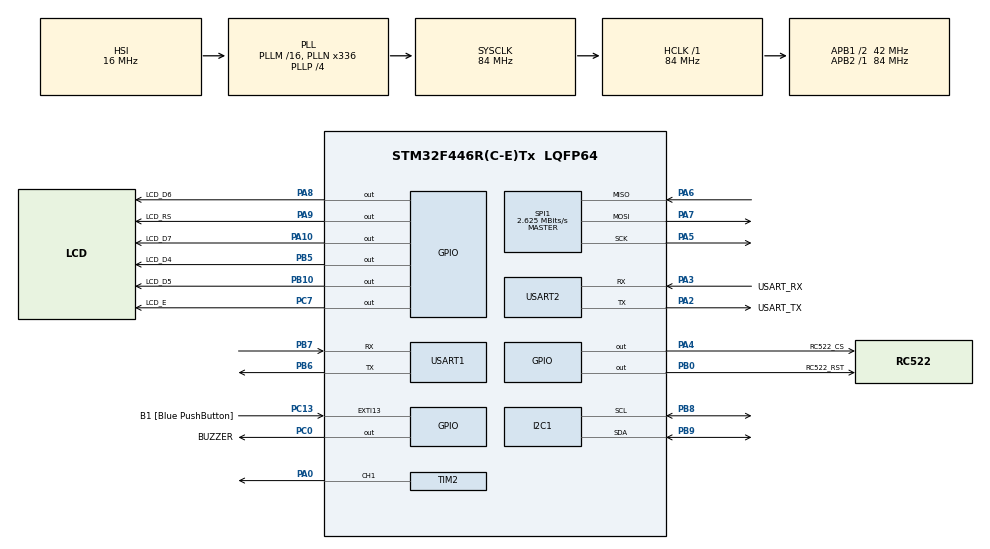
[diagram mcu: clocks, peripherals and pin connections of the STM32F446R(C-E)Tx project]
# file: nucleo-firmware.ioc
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Mcu.Family=STM32F4
Mcu.Name=STM32F446R(C-E)Tx
Mcu.Package=LQFP64
NVIC.PriorityGroup=NVIC_PRIORITYGROUP_0
NVIC.USART1_IRQn=true\:0\:0\:false\:false\:true\:true\:true\:true
PA0-WKUP.Signal=S_TIM2_CH1_ETR
PA10.GPIO_Label=LCD_D7
PA10.Signal=GPIO_Output
PA13.GPIO_Label=TMS
PA13.Mode=Serial_Wire
PA13.Signal=SYS_JTMS-SWDIO
PA14.GPIO_Label=TCK
PA14.Mode=Serial_Wire
PA14.Signal=SYS_JTCK-SWCLK
PA2.GPIO_Label=USART_TX
PA2.Mode=Asynchronous
PA2.Signal=USART2_TX
PA3.GPIO_Label=USART_RX
PA3.Mode=Asynchronous
PA3.Signal=USART2_RX
PA4.GPIO_Label=RC522_CS
PA4.PinState=GPIO_PIN_SET
PA4.Signal=GPIO_Output
PA5.Mode=Full_Duplex_Master
PA5.Signal=SPI1_SCK
PA6.Mode=Full_Duplex_Master
PA6.Signal=SPI1_MISO
PA7.Mode=Full_Duplex_Master
PA7.Signal=SPI1_MOSI
PA8.GPIO_Label=LCD_D6
PA8.Signal=GPIO_Output
PA9.GPIO_Label=LCD_RS
PA9.Signal=GPIO_Output
PB0.GPIO_Label=RC522_RST
PB0.PinState=GPIO_PIN_SET
PB0.Signal=GPIO_Output
PB10.GPIO_Label=LCD_D5
PB10.Signal=GPIO_Output
PB3.GPIO_Label=SWO
PB3.Signal=SYS_JTDO-SWO
PB5.GPIO_Label=LCD_D4
PB5.Signal=GPIO_Output
PB6.Mode=Asynchronous
PB6.Signal=USART1_TX
PB7.Mode=Asynchronous
PB7.Signal=USART1_RX
PB8.Mode=I2C
PB8.Signal=I2C1_SCL
PB9.Mode=I2C
PB9.Signal=I2C1_SDA
PC0.GPIO_Label=BUZZER
PC0.Signal=GPIO_Output
PC13.GPIO_Label=B1 [Blue PushButton]
PC13.GPIO_ModeDefaultEXTI=GPIO_MODE_IT_FALLING
PC13.Signal=GPXTI13
PC14-OSC32_IN.Signal=RCC_OSC32_IN
PC15-OSC32_OUT.Signal=RCC_OSC32_OUT
PC7.GPIO_Label=LCD_E
PC7.Signal=GPIO_Output
PH0-OSC_IN.Signal=RCC_OSC_IN
PH1-OSC_OUT.Signal=RCC_OSC_OUT
ProjectManager.HeapSize=0x200
ProjectManager.StackSize=0x400
ProjectManager.TargetToolchain=STM32CubeIDE
RCC.AHBFreq_Value=84000000
RCC.APB1CLKDivider=RCC_HCLK_DIV2
RCC.APB1Freq_Value=42000000
RCC.APB1TimFreq_Value=84000000
RCC.APB2Freq_Value=84000000
RCC.APB2TimFreq_Value=84000000
RCC.CortexFreq_Value=84000000
RCC.FLatency-AdvancedSettings=FLASH_LATENCY_2
RCC.HCLKFreq_Value=84000000
RCC.HSE_VALUE=8000000
RCC.HSI_VALUE=16000000
RCC.LSE_VALUE=32768
RCC.PLLN=336
RCC.PLLP=RCC_PLLP_DIV4
RCC.SYSCLKFreq_VALUE=84000000
RCC.SYSCLKSource=RCC_SYSCLKSOURCE_PLLCLK
RCC.USBFreq_Value=168000000
RCC.VCOOutputFreq_Value=336000000
SH.S_TIM2_CH1_ETR.0=TIM2_CH1,PWM Generation1 CH1
SPI1.BaudRatePrescaler=SPI_BAUDRATEPRESCALER_32
SPI1.CalculateBaudRate=2.625 MBits/s
SPI1.Direction=SPI_DIRECTION_2LINES
SPI1.Mode=SPI_MODE_MASTER
SPI1.VirtualType=VM_MASTER
TIM2.AutoReloadPreload=TIM_AUTORELOAD_PRELOAD_ENABLE
TIM2.Channel-PWM\ Generation1\ CH1=TIM_CHANNEL_1
TIM2.Period=19999
TIM2.Prescaler=83
TIM2.Pulse-PWM\ Generation1\ CH1=1500
USART1.VirtualMode=VM_ASYNC
USART2.VirtualMode=VM_ASYNC
VP_TIM2_VS_ClockSourceINT.Mode=Internal
board=NUCLEO-F446RE

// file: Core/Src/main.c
/* USER CODE BEGIN Header */
/**
  ******************************************************************************
  * @file           : main.c
  * @brief          : Main program body
  ******************************************************************************
  * @attention
  *
  * Copyright (c) 2026 STMicroelectronics.
  * All rights reserved.
  *
  * This software is licensed under terms that can be found in the LICENSE file
  * in the root directory of this software component.
  * If no LICENSE file comes with this software, it is provided AS-IS.
  *
  ******************************************************************************
  */
/* USER CODE END Header */
#include "main.h"

/* USER CODE BEGIN Includes */
#include <stdio.h>
#include <string.h>
/* USER CODE END Includes */

/* USER CODE BEGIN PD */
#define SERVO_MIN_US       650    // safe range: measured stops (540 / 2480) plus ~100 us margin
#define SERVO_MAX_US       2380
#define SERVO_LOCKED_US    700    // placeholder, choose after trying the positions
#define SERVO_UNLOCKED_US  2300   // placeholder, choose after trying the positions
#define UNLOCK_HOLD_MS     5000   // how long the lock stays open after a grant (my starting value)
#define RFID_POLL_MS       100    // how often the card reader is polled (same rate as before)
#define RX1_BUF_SIZE 128                    // must be a power of two

#define FRAME_SOF           0xA5
#define FRAME_TYPE_EVENT    0x01
#define FRAME_TYPE_ACK      0x02
#define FRAME_MAX_PAYLOAD   32

/* USER CODE END PD */

I2C_HandleTypeDef hi2c1;

SPI_HandleTypeDef hspi1;

TIM_HandleTypeDef htim2;

UART_HandleTypeDef huart1;
UART_HandleTypeDef huart2;

/* USER CODE BEGIN PV */

static volatile uint8_t  rx1_buf[RX1_BUF_SIZE];
static volatile uint16_t rx1_head = 0;      // written only by the interrupt
static volatile uint16_t rx1_tail = 0;      // written only by the main loop
static volatile uint32_t rx1_dropped = 0;   // bytes thrown away because the buffer was full
static volatile uint32_t rx1_errors = 0;    // UART error events (overrun, noise, framing)
static uint8_t  rx1_byte;                   // one-byte landing spot for HAL
static uint32_t rx1_bytes = 0;              // bytes the main loop has taken out (test counter)
static volatile uint32_t rx1_err_pe = 0, rx1_err_ne = 0, rx1_err_fe = 0, rx1_err_ore = 0;
static uint32_t rx1_unexpected = 0;
static uint8_t  rxdump[64];
static size_t   rxdump_n = 0;
static uint32_t rxdump_last_ms = 0;

/* USER CODE END PV */

void SystemClock_Config(void);
static void MX_GPIO_Init(void);
static void MX_SPI1_Init(void);
static void MX_USART2_UART_Init(void);
static void MX_TIM2_Init(void);
static void MX_I2C1_Init(void);
static void MX_USART1_UART_Init(void);

/* USER CODE BEGIN 0 */

// CRC-16/CCITT-FALSE: polynomial 0x1021, start value 0xFFFF, no bit reflection
static uint16_t crc16_ccitt(const uint8_t *data, size_t len)
{
    uint16_t crc = 0xFFFF;
    for (size_t i = 0; i < len; i++) {
        crc ^= (uint16_t)data[i] << 8;                       // bring the next byte in at the top
        for (uint8_t b = 0; b < 8; b++)                      // then shift it through, one bit at a time
            crc = (crc & 0x8000) ? (uint16_t)((crc << 1) ^ 0x1021) : (uint16_t)(crc << 1);
    }
    return crc;
}

// Builds [SOF][LEN][TYPE][SEQ][PAYLOAD][CRC hi][CRC lo] into out. Returns the frame size in bytes.
// out must hold at least len + 6 bytes. The CRC covers LEN, TYPE, SEQ and PAYLOAD.
static size_t frame_build(uint8_t *out, uint8_t type, uint8_t seq, const uint8_t *payload, uint8_t len)
{
    out[0] = FRAME_SOF;
    out[1] = len;
    out[2] = type;
    out[3] = seq;
    memcpy(&out[4], payload, len);
    uint16_t crc = crc16_ccitt(&out[1], (size_t)len + 3);
    out[4 + len] = (uint8_t)(crc >> 8);
    out[5 + len] = (uint8_t)(crc & 0xFF);
    return (size_t)len + 6;
}

// Test helper: sends the sample EVENT frame, deliberately damaged according to 'fault'.
static void send_sample_frame(uint8_t fault)
{
    const uint8_t sample[17] = { 0x39,0x30,0x00,0x00, 0x01,0x17,0x37,0x02,
                                 1, 1, 0, 0x1A,0x0B,0x16,0x0C,0x22,0x38 };
    uint8_t fr[FRAME_MAX_PAYLOAD + 6];
    size_t n = frame_build(fr, FRAME_TYPE_EVENT, 7, sample, sizeof sample);
    switch (fault) {
    case 1: fr[8] ^= 0x01; break;          // flip one payload bit: the CRC no longer matches
    case 2: fr[1] = 0x40;  break;          // length 64 is above the maximum of 32
    case 3: n = 10;        break;          // truncated: only the first 10 bytes are sent
    case 4: {                              // junk start of a fake frame, then a valid frame
        static const uint8_t pre[2] = { 0xA5, 0x05 };
        HAL_UART_Transmit(&huart1, pre, sizeof pre, 100);
        break; }
    default: break;
    }
    HAL_UART_Transmit(&huart1, fr, n, 100);
}

static void uart_print(const char *s)
{
    HAL_UART_Transmit(&huart2, (uint8_t *)s, strlen(s), 100);
}

typedef struct {
    uint8_t  buf[1 + 3 + FRAME_MAX_PAYLOAD + 2];   // raw bytes since the last start byte
    size_t   n;                                    // 0 = hunting for a start byte
    uint32_t last_byte_ms;
    uint32_t ok, bad_crc, bad_len, timeout, skipped;
} frame_parser_t;

static frame_parser_t rxp;                         // parser for bytes arriving from the ESP32

static void on_frame(const uint8_t *f)             // called with a complete, CRC-valid frame
{
    char b[56];
    if (f[2] == FRAME_TYPE_ACK && f[1] == 0)
        snprintf(b, sizeof b, "ACK received seq=%u\r\n", f[3]);
    else
        snprintf(b, sizeof b, "IGNORED frame type=0x%02X len=%u seq=%u\r\n", f[2], f[1], f[3]);
    uart_print(b);
}

static void parser_feed(frame_parser_t *p, uint8_t b);

static void parser_restart(frame_parser_t *p)      // rescan from the byte after the start byte
{
    uint8_t tmp[sizeof p->buf];
    size_t m = p->n - 1;
    memcpy(tmp, p->buf + 1, m);
    p->n = 0;
    for (size_t i = 0; i < m; i++) parser_feed(p, tmp[i]);
}

static void parser_feed(frame_parser_t *p, uint8_t b)
{
    if (p->n == 0) {
        if (b == FRAME_SOF) p->buf[p->n++] = b; else p->skipped++;
        return;
    }
    p->buf[p->n++] = b;
    if (p->n == 2 && b > FRAME_MAX_PAYLOAD) { p->bad_len++; parser_restart(p); return; }
    if (p->n >= 2 && p->n == (size_t)(6 + p->buf[1])) {
        size_t total = p->n;
        uint16_t rx   = ((uint16_t)p->buf[total - 2] << 8) | p->buf[total - 1];
        uint16_t calc = crc16_ccitt(&p->buf[1], (size_t)3 + p->buf[1]);
        if (rx == calc) { p->ok++; p->n = 0; on_frame(p->buf); }
        else            { p->bad_crc++; parser_restart(p); }
    }
}

static void servo_set(uint16_t us)
{
    if (us < SERVO_MIN_US) us = SERVO_MIN_US;   // never command past the safe range
    if (us > SERVO_MAX_US) us = SERVO_MAX_US;
    __HAL_TIM_SET_COMPARE(&htim2, TIM_CHANNEL_1, us);
}

typedef struct {
    const uint16_t *steps;   // durations in ms, alternating ON, OFF, ON, ...
    uint8_t count;
} buzzer_pattern_t;

static const uint16_t PAT_GRANTED_STEPS[] = { 300 };
static const uint16_t PAT_DENIED_STEPS[]  = { 100, 100, 100, 100, 100 };
static const uint16_t PAT_TEST_STEPS[]    = { 200 };

static const buzzer_pattern_t PAT_GRANTED = { PAT_GRANTED_STEPS, 1 };
static const buzzer_pattern_t PAT_DENIED  = { PAT_DENIED_STEPS,  5 };
static const buzzer_pattern_t PAT_TEST    = { PAT_TEST_STEPS,    1 };

static const buzzer_pattern_t *buz_pat = NULL;   // NULL = idle
static uint8_t  buz_step = 0;
static uint32_t buz_step_start = 0;

static void buzzer_start(const buzzer_pattern_t *p)   // returns immediately
{
    buz_pat = p;
    buz_step = 0;
    buz_step_start = HAL_GetTick();
    HAL_GPIO_WritePin(BUZZER_GPIO_Port, BUZZER_Pin, GPIO_PIN_SET);   // step 0 is always ON
}

static void buzzer_update(void)                        // call every loop pass
{
    if (buz_pat == NULL) return;
    if ((HAL_GetTick() - buz_step_start) < buz_pat->steps[buz_step]) return;

    buz_step++;
    if (buz_step >= buz_pat->count) {                  // pattern finished
        HAL_GPIO_WritePin(BUZZER_GPIO_Port, BUZZER_Pin, GPIO_PIN_RESET);
        buz_pat = NULL;
        return;
    }
    buz_step_start = HAL_GetTick();
    HAL_GPIO_WritePin(BUZZER_GPIO_Port, BUZZER_Pin,
                      (buz_step % 2 == 0) ? GPIO_PIN_SET : GPIO_PIN_RESET);   // even = ON, odd = OFF
}

typedef enum { LOCK_LOCKED, LOCK_UNLOCKED } lock_state_t;
static lock_state_t lock_state = LOCK_LOCKED;
static uint32_t unlock_ms = 0;            // HAL_GetTick() when the lock last opened

static void lock_set(lock_state_t s)      // the only place that moves the servo for access logic
{
    lock_state = s;
    servo_set(s == LOCK_UNLOCKED ? SERVO_UNLOCKED_US : SERVO_LOCKED_US);
    if (s == LOCK_UNLOCKED) unlock_ms = HAL_GetTick();
}

static void i2c_scan(void)
{
    char b[40];
    uint8_t found = 0;
    uart_print("I2C scan...\r\n");
    for (uint8_t addr = 0x08; addr <= 0x77; addr++) {
        // HAL wants the 7-bit address shifted left by 1; 1 try, 10 ms timeout
        if (HAL_I2C_IsDeviceReady(&hi2c1, (uint16_t)(addr << 1), 1, 10) == HAL_OK) {
            snprintf(b, sizeof b, "  device at 0x%02X\r\n", addr);
            uart_print(b);
            found++;
        }
    }
    snprintf(b, sizeof b, "scan done, %u found\r\n", found);
    uart_print(b);
}

static void i2c_diag(void)
{
    char b[96];
    uint8_t scl = (HAL_GPIO_ReadPin(GPIOB, GPIO_PIN_8) == GPIO_PIN_SET);
    uint8_t sda = (HAL_GPIO_ReadPin(GPIOB, GPIO_PIN_9) == GPIO_PIN_SET);
    snprintf(b, sizeof b, "SCL=%u SDA=%u SR1=0x%04lX SR2=0x%04lX\r\n",
             scl, sda,
             (unsigned long)hi2c1.Instance->SR1,
             (unsigned long)hi2c1.Instance->SR2);
    uart_print(b);
}

static void i2c_bus_clear(void)
{
    char b[80];
    GPIO_InitTypeDef g = {0};

    HAL_I2C_DeInit(&hi2c1);                       // peripheral lets go of PB8/PB9

    g.Pin   = GPIO_PIN_8 | GPIO_PIN_9;
    g.Mode  = GPIO_MODE_OUTPUT_OD;                // open-drain: writing 1 = release the line
    g.Pull  = GPIO_NOPULL;                        // module's 4.7k pull-ups do the pulling
    g.Speed = GPIO_SPEED_FREQ_LOW;
    HAL_GPIO_Init(GPIOB, &g);
    HAL_GPIO_WritePin(GPIOB, GPIO_PIN_8 | GPIO_PIN_9, GPIO_PIN_SET);
    HAL_Delay(1);

    uint8_t sda_before = (HAL_GPIO_ReadPin(GPIOB, GPIO_PIN_9) == GPIO_PIN_SET);
    uint8_t pulses = 0;
    while (HAL_GPIO_ReadPin(GPIOB, GPIO_PIN_9) == GPIO_PIN_RESET && pulses < 9) {
        HAL_GPIO_WritePin(GPIOB, GPIO_PIN_8, GPIO_PIN_RESET); HAL_Delay(1);
        HAL_GPIO_WritePin(GPIOB, GPIO_PIN_8, GPIO_PIN_SET);   HAL_Delay(1);
        pulses++;
    }

    // STOP condition: SDA goes low then high while SCL is high
    HAL_GPIO_WritePin(GPIOB, GPIO_PIN_9, GPIO_PIN_RESET); HAL_Delay(1);
    HAL_GPIO_WritePin(GPIOB, GPIO_PIN_8, GPIO_PIN_SET);   HAL_Delay(1);
    HAL_GPIO_WritePin(GPIOB, GPIO_PIN_9, GPIO_PIN_SET);   HAL_Delay(1);

    uint8_t sda_after = (HAL_GPIO_ReadPin(GPIOB, GPIO_PIN_9) == GPIO_PIN_SET);
    snprintf(b, sizeof b, "bus clear: SDA before=%u, pulses=%u, SDA after=%u\r\n",
             sda_before, pulses, sda_after);
    uart_print(b);

    MX_I2C1_Init();                               // hand the pins back to the I2C peripheral
}

static void ds1307_dump(void)
{
    uint8_t r[7];
    char b[96];

    HAL_StatusTypeDef st = HAL_I2C_Mem_Read(&hi2c1, (0x68 << 1), 0x00,
                                            I2C_MEMADD_SIZE_8BIT, r, 7, 100);
    if (st != HAL_OK) {
        snprintf(b, sizeof b, "read failed: status=%d err=0x%02lX state=0x%02X\r\n",
                 (int)st,
                 (unsigned long)HAL_I2C_GetError(&hi2c1),
                 (unsigned)HAL_I2C_GetState(&hi2c1));
        uart_print(b);
        return;
    }

    snprintf(b, sizeof b, "DS1307 raw: %02X %02X %02X %02X %02X %02X %02X\r\n",
             r[0], r[1], r[2], r[3], r[4], r[5], r[6]);
    uart_print(b);
}

static uint8_t bcd_ok(uint8_t v, uint8_t max_bcd)
{
    return ((v & 0x0F) <= 9) && ((v >> 4) <= 9) && (v <= max_bcd);
}

static void ds1307_stats(void)
{
    uint8_t r[7];
    char b[96];
    uint16_t ok = 0, failed = 0, invalid = 0;
    uint8_t first_fail = 0;
    uint32_t last_err = 0;

    for (uint8_t i = 1; i <= 100; i++) {
        HAL_StatusTypeDef st = HAL_I2C_Mem_Read(&hi2c1, (0x68 << 1), 0x00,
                                                I2C_MEMADD_SIZE_8BIT, r, 7, 100);
        if (st != HAL_OK) {
            failed++;
            last_err = HAL_I2C_GetError(&hi2c1);
            if (!first_fail) first_fail = i;
        } else if (!bcd_ok(r[0] & 0x7F, 0x59) ||    // seconds (mask off the CH bit)
                   !bcd_ok(r[1], 0x59) ||           // minutes
                   !bcd_ok(r[2], 0x23)) {           // hours (assumes 24 h mode)
            invalid++;
            if (!first_fail) first_fail = i;
        } else {
            ok++;
        }
        HAL_Delay(100);
    }

    snprintf(b, sizeof b, "stats/100: ok=%u failed=%u invalid=%u first_bad=%u last_err=0x%02lX\r\n",
             ok, failed, invalid, first_fail, (unsigned long)last_err);
    uart_print(b);
    i2c_diag();     // shows SCL/SDA/SR1/SR2 afterwards
}

typedef struct { uint8_t sec, min, hour, date, month, year; } rtc_time_t;   // year = 0..99

static uint8_t to_bcd(uint8_t v)   { return (uint8_t)(((v / 10) << 4) | (v % 10)); }
static uint8_t from_bcd(uint8_t b) { return (uint8_t)((b >> 4) * 10 + (b & 0x0F)); }

// Fills t from the compile-time __DATE__ ("Nov  5 2026") and __TIME__ ("12:34:56"). Returns 1 on success.
static uint8_t parse_build_time(rtc_time_t *t)
{
    static const char mon[] = "JanFebMarAprMayJunJulAugSepOctNovDec";
    const char *d = __DATE__, *tm = __TIME__;
    uint8_t m = 0;
    for (uint8_t i = 0; i < 12; i++)
        if (strncmp(d, mon + 3 * i, 3) == 0) m = (uint8_t)(i + 1);
    if (m == 0) return 0;
    t->month = m;
    t->date  = (uint8_t)((d[4] == ' ' ? 0 : d[4] - '0') * 10 + (d[5] - '0'));
    t->year  = (uint8_t)((d[9] - '0') * 10 + (d[10] - '0'));
    t->hour  = (uint8_t)((tm[0] - '0') * 10 + (tm[1] - '0'));
    t->min   = (uint8_t)((tm[3] - '0') * 10 + (tm[4] - '0'));
    t->sec   = (uint8_t)((tm[6] - '0') * 10 + (tm[7] - '0'));
    return 1;
}

static HAL_StatusTypeDef ds1307_write_time(const rtc_time_t *t)
{
    uint8_t r[7] = { to_bcd(t->sec),      // bit 7 = 0 -> oscillator runs
                     to_bcd(t->min),
                     to_bcd(t->hour),     // bit 6 = 0 -> 24 h mode
                     1,                   // day-of-week: unused, fixed at 1
                     to_bcd(t->date),
                     to_bcd(t->month),
                     to_bcd(t->year) };
    return HAL_I2C_Mem_Write(&hi2c1, (0x68 << 1), 0x00, I2C_MEMADD_SIZE_8BIT, r, 7, 100);
}

// returns 0 = ok, 1 = I2C failure, 2 = invalid values, 3 = clock halted
static uint8_t ds1307_read_time(rtc_time_t *t)
{
    uint8_t r[7];
    if (HAL_I2C_Mem_Read(&hi2c1, (0x68 << 1), 0x00, I2C_MEMADD_SIZE_8BIT, r, 7, 100) != HAL_OK)
        return 1;
    if (r[0] & 0x80) return 3;                       // clock-halt bit set
    if (!bcd_ok(r[0], 0x59) || !bcd_ok(r[1], 0x59) || !bcd_ok(r[2], 0x23) ||   // 12 h bit also fails here
        !bcd_ok(r[4], 0x31) || !bcd_ok(r[5], 0x12) || !bcd_ok(r[6], 0x99))
        return 2;
    t->sec = from_bcd(r[0]);  t->min = from_bcd(r[1]);  t->hour = from_bcd(r[2]);
    t->date = from_bcd(r[4]); t->month = from_bcd(r[5]); t->year = from_bcd(r[6]);
    if (t->date < 1 || t->month < 1) return 2;       // 00 is not a valid date or month
    return 0;
}

static void rtc_print_status(void)
{
    rtc_time_t t;
    char b[64];
    uint8_t rc = ds1307_read_time(&t);
    if (rc == 0)
        snprintf(b, sizeof b, "RTC %04u-%02u-%02u %02u:%02u:%02u\r\n",
                 2000 + t.year, t.month, t.date, t.hour, t.min, t.sec);
    else
        snprintf(b, sizeof b, "RTC read problem: code %u (1=I2C 2=invalid 3=halted)\r\n", rc);
    uart_print(b);
}

static uint32_t rtc_ok_cnt = 0, rtc_fail_cnt = 0;

// Writes either a wall-clock stamp or an uptime stamp into out. Never fails the caller.
static void make_timestamp(char *out, size_t n, uint32_t *took_ms, uint8_t *rc_out)
{
    rtc_time_t t;
    uint32_t t0 = HAL_GetTick();
    uint8_t rc = ds1307_read_time(&t);
    *took_ms = HAL_GetTick() - t0;
    *rc_out = rc;
    if (rc == 0) {
        rtc_ok_cnt++;
        snprintf(out, n, "%04u-%02u-%02u %02u:%02u:%02u",
                 2000 + t.year, t.month, t.date, t.hour, t.min, t.sec);
    } else {
        rtc_fail_cnt++;
        uint32_t up = HAL_GetTick();
        snprintf(out, n, "up %lu.%lus", (unsigned long)(up / 1000), (unsigned long)((up % 1000) / 100));
    }
}

static uint8_t rc522_read_reg(uint8_t reg)
{
    uint8_t tx[2] = { (uint8_t)(0x80 | (reg << 1)), 0x00 };
    uint8_t rx[2] = {0};
    HAL_GPIO_WritePin(RC522_CS_GPIO_Port, RC522_CS_Pin, GPIO_PIN_RESET);
    HAL_SPI_TransmitReceive(&hspi1, tx, rx, 2, 100);
    HAL_GPIO_WritePin(RC522_CS_GPIO_Port, RC522_CS_Pin, GPIO_PIN_SET);
    return rx[1];
}

static void rc522_write_reg(uint8_t reg, uint8_t val)
{
    uint8_t tx[2] = { (uint8_t)((reg << 1) & 0x7E), val };
    HAL_GPIO_WritePin(RC522_CS_GPIO_Port, RC522_CS_Pin, GPIO_PIN_RESET);
    HAL_SPI_Transmit(&hspi1, tx, 2, 100);
    HAL_GPIO_WritePin(RC522_CS_GPIO_Port, RC522_CS_Pin, GPIO_PIN_SET);

}

static void rc522_dump_regs(void)
{
    char buf[48];
    uart_print("--- RC522 register dump ---\r\n");
    for (uint8_t r = 0; r < 0x40; r++) {
        if (r == 0x09) {
            snprintf(buf, sizeof buf, "0x%02X: skipped (FIFOData)\r\n", r);
        } else {
            snprintf(buf, sizeof buf, "0x%02X: 0x%02X\r\n", r, rc522_read_reg(r));
        }
        uart_print(buf);
    }
    uart_print("--- end ---\r\n");
}

// returns 0 = ok, 1 = timeout (no card), 2 = ErrIRq, 3 = unexpected length
static uint8_t rc522_reqa(uint8_t *atqa)
{
    rc522_write_reg(0x01, 0x00);   // Idle
    rc522_write_reg(0x04, 0x7F);   // clear all ComIrq flags
    rc522_write_reg(0x0A, 0x80);   // flush FIFO (assumed bit 7)
    rc522_write_reg(0x0D, 0x07);   // TxLastBits = 7 (7-bit frame)
    rc522_write_reg(0x09, 0x26);   // REQA into FIFO
    rc522_write_reg(0x01, 0x0C);   // Transceive
    rc522_write_reg(0x0D, 0x87);   // StartSend + TxLastBits = 7

    uint32_t t0 = HAL_GetTick();
    uint8_t irq;
    do {
        irq = rc522_read_reg(0x04);
        if (irq & 0x22) break;     // RxIRq (bit 5) or ErrIRq (bit 1)
    } while (HAL_GetTick() - t0 < 30);

    rc522_write_reg(0x0D, 0x00);   // clear StartSend
    rc522_write_reg(0x01, 0x00);   // back to Idle

    if (!(irq & 0x22))  return 1;
    if (irq & 0x02)     return 2;
    if (rc522_read_reg(0x0A) != 2) return 3;
    atqa[0] = rc522_read_reg(0x09);
    atqa[1] = rc522_read_reg(0x09);
    return 0;
}

// returns 0 = ok, 1 = timeout, 2 = ErrIRq, 3 = bad length, 4 = BCC mismatch
static uint8_t rc522_anticoll(uint8_t *uid)
{
    rc522_write_reg(0x01, 0x00);   // Idle
    rc522_write_reg(0x04, 0x7F);   // clear ComIrq flags
    rc522_write_reg(0x0A, 0x80);   // flush FIFO
    rc522_write_reg(0x0D, 0x00);   // TxLastBits = 0 (full bytes)
    rc522_write_reg(0x09, 0x93);   // SEL: cascade level 1
    rc522_write_reg(0x09, 0x20);   // NVB: no UID bits known
    rc522_write_reg(0x01, 0x0C);   // Transceive
    rc522_write_reg(0x0D, 0x80);   // StartSend

    uint32_t t0 = HAL_GetTick();
    uint8_t irq;
    do {
        irq = rc522_read_reg(0x04);
        if (irq & 0x22) break;
    } while (HAL_GetTick() - t0 < 30);

    rc522_write_reg(0x0D, 0x00);
    rc522_write_reg(0x01, 0x00);

    if (!(irq & 0x22))  return 1;
    if (irq & 0x02)     return 2;
    if ((rc522_read_reg(0x0A) & 0x7F) != 5) return 3;
    for (uint8_t i = 0; i < 5; i++) uid[i] = rc522_read_reg(0x09);
    if ((uid[0] ^ uid[1] ^ uid[2] ^ uid[3]) != uid[4]) return 4;
    return 0;
}

static const uint8_t WHITELIST[][4] = {
    {0x01, 0x17, 0x37, 0x02},   // white card
};
#define WHITELIST_COUNT (sizeof(WHITELIST) / sizeof(WHITELIST[0]))

static uint8_t is_authorized(const uint8_t *uid)
{
    for (uint32_t i = 0; i < WHITELIST_COUNT; i++)
        if (memcmp(uid, WHITELIST[i], 4) == 0) return 1;
    return 0;
}

static void lcd_pins_test(void)
{
    GPIO_TypeDef *ports[6] = { LCD_RS_GPIO_Port, LCD_E_GPIO_Port, LCD_D4_GPIO_Port,
                               LCD_D5_GPIO_Port, LCD_D6_GPIO_Port, LCD_D7_GPIO_Port };
    uint16_t pins[6] = { LCD_RS_Pin, LCD_E_Pin, LCD_D4_Pin,
                         LCD_D5_Pin, LCD_D6_Pin, LCD_D7_Pin };
    const char *names[6] = { "RS", "E", "D4", "D5", "D6", "D7" };
    char b[48];

    for (uint8_t i = 0; i < 6; i++) {
        HAL_GPIO_WritePin(ports[i], pins[i], GPIO_PIN_SET);
        HAL_Delay(5);
        uint8_t hi = (HAL_GPIO_ReadPin(ports[i], pins[i]) == GPIO_PIN_SET);
        HAL_GPIO_WritePin(ports[i], pins[i], GPIO_PIN_RESET);
        HAL_Delay(5);
        uint8_t lo = (HAL_GPIO_ReadPin(ports[i], pins[i]) == GPIO_PIN_RESET);
        snprintf(b, sizeof b, "%s: high=%u low=%u\r\n", names[i], hi, lo);
        uart_print(b);
    }
}

static void lcd_write_nibble(uint8_t nib)
{
    HAL_GPIO_WritePin(LCD_D4_GPIO_Port, LCD_D4_Pin, (nib & 0x01) ? GPIO_PIN_SET : GPIO_PIN_RESET);
    HAL_GPIO_WritePin(LCD_D5_GPIO_Port, LCD_D5_Pin, (nib & 0x02) ? GPIO_PIN_SET : GPIO_PIN_RESET);
    HAL_GPIO_WritePin(LCD_D6_GPIO_Port, LCD_D6_Pin, (nib & 0x04) ? GPIO_PIN_SET : GPIO_PIN_RESET);
    HAL_GPIO_WritePin(LCD_D7_GPIO_Port, LCD_D7_Pin, (nib & 0x08) ? GPIO_PIN_SET : GPIO_PIN_RESET);
    HAL_GPIO_WritePin(LCD_E_GPIO_Port, LCD_E_Pin, GPIO_PIN_SET);
    HAL_Delay(1);                       // generous; real minimum is microseconds
    HAL_GPIO_WritePin(LCD_E_GPIO_Port, LCD_E_Pin, GPIO_PIN_RESET);
    HAL_Delay(1);
}

static void lcd_send(uint8_t byte, uint8_t is_data)
{
    HAL_GPIO_WritePin(LCD_RS_GPIO_Port, LCD_RS_Pin, is_data ? GPIO_PIN_SET : GPIO_PIN_RESET);
    lcd_write_nibble(byte >> 4);        // high nibble first
    lcd_write_nibble(byte & 0x0F);      // then low nibble
}

static void lcd_init(void)
{
    HAL_Delay(50);                      // wait after power-up
    HAL_GPIO_WritePin(LCD_RS_GPIO_Port, LCD_RS_Pin, GPIO_PIN_RESET);
    lcd_write_nibble(0x03); HAL_Delay(5);
    lcd_write_nibble(0x03); HAL_Delay(1);
    lcd_write_nibble(0x03); HAL_Delay(1);
    lcd_write_nibble(0x02); HAL_Delay(1);   // switch to 4-bit mode
    lcd_send(0x28, 0);                  // function set: 4-bit, 2 lines, 5x8 font
    lcd_send(0x0C, 0);                  // display on, cursor off
    lcd_send(0x01, 0); HAL_Delay(2);    // clear display (slow command)
    lcd_send(0x06, 0);                  // entry mode: cursor moves right
}

static void lcd_print(const char *s)
{
    while (*s) lcd_send((uint8_t)*s++, 1);
}

static void lcd_set_cursor(uint8_t row, uint8_t col)
{
    uint8_t addr = (row == 0 ? 0x00 : 0x40) + col;   // line 2 starts at 0x40 (standard HD44780 layout, from memory)
    lcd_send(0x80 | addr, 0);                         // "set DDRAM address" command
}

static void lcd_clear(void)
{
    lcd_send(0x01, 0);
    HAL_Delay(2);                                      // clear is a slow command
}

#define RESULT_HOLD_MS 2000   // keep result on screen this long after the card leaves

typedef enum { STATE_IDLE, STATE_SHOWING } ui_state_t;

static void lcd_show_idle(void)
{
    lcd_clear();
    lcd_set_cursor(0, 0);
    lcd_print("ACCESS SYSTEM");
    lcd_set_cursor(1, 0);
    lcd_print("READY");
}

/* USER CODE END 0 */

int main(void)
{

  /* MCU Configuration--------------------------------------------------------*/

  /* Reset of all peripherals, Initializes the Flash interface and the Systick. */
  HAL_Init();

  /* Configure the system clock */
  SystemClock_Config();

  /* Initialize all configured peripherals */
  MX_GPIO_Init();
  MX_SPI1_Init();
  MX_USART2_UART_Init();
  MX_TIM2_Init();
  MX_I2C1_Init();
  MX_USART1_UART_Init();
  /* USER CODE BEGIN 2 */

  HAL_GPIO_WritePin(RC522_RST_GPIO_Port, RC522_RST_Pin, GPIO_PIN_RESET);
  HAL_Delay(10);
  HAL_GPIO_WritePin(RC522_RST_GPIO_Port, RC522_RST_Pin, GPIO_PIN_SET);
  HAL_Delay(50);

  /*
  rc522_dump_regs();

  {
      char b[64];
      rc522_write_reg(0x01, 0x0F);   // CommandReg = SoftReset
      HAL_Delay(50);                 // wait for the chip to restart (my guess at a safe time)
      snprintf(b, sizeof b, "After soft reset: Cmd=0x%02X Mode=0x%02X TxCtl=0x%02X\r\n",
               rc522_read_reg(0x01), rc522_read_reg(0x11), rc522_read_reg(0x14));
      uart_print(b);
  }
  */

  //lcd_pins_test()

  lcd_init();
  lcd_clear();
  lcd_set_cursor(0, 0);
  lcd_print("ACCESS SYSTEM");
  lcd_set_cursor(1, 0);
  lcd_print("STARTING...");
  uart_print("\r\n=== Access System boot ===\r\n");
  uart_print("Build: " __DATE__ " " __TIME__ "\r\n");

  uint8_t reader_ok = 1;
  {
      rc522_write_reg(0x14, rc522_read_reg(0x14) | 0x03);   // antenna on (do not remove)
      uint8_t txctl = rc522_read_reg(0x14);
      if ((txctl & 0x03) != 0x03) {                          // only speak up if the antenna did not turn on
          reader_ok = 0;
          char b[64];
          snprintf(b, sizeof b, "READER FAULT: TxControl = 0x%02X (antenna not on)\r\n", txctl);
          uart_print(b);
      }
  }

  ui_state_t ui_state = STATE_IDLE;
  uint32_t last_seen_ms = 0;
  uint8_t last_uid[4] = {0};
  uint32_t last_poll_ms = 0;

  /* --- LOCK START --- */
  lock_set(LOCK_LOCKED);                       // set the compare value first, so the first pulse is LOCKED
  HAL_TIM_PWM_Start(&htim2, TIM_CHANNEL_1);
  uart_print("Lock ready: LOCKED\r\n");
  /* --- END LOCK START --- */

  buzzer_start(&PAT_TEST);                     // short boot beep (200 ms)
  HAL_Delay(1500);                             // keep the title readable (boot only, so blocking is fine)
  buzzer_update();                             // beep is long over, so this switches the buzzer off
  if (reader_ok) {
      lcd_show_idle();
      uart_print("Ready\r\n");
  } else {
      lcd_clear();
      lcd_set_cursor(0, 0);
      lcd_print("READER FAULT");
      lcd_set_cursor(1, 0);
      lcd_print("CHECK RC522");
  }

  HAL_UART_Receive_IT(&huart1, &rx1_byte, 1);   // start interrupt-driven receive on USART1

  /* USER CODE END 2 */

  /* Infinite loop */
  while (1)
  {

    /* USER CODE BEGIN 3 */
	  char buf[80];
	  uint8_t atqa[2], uid[5];

	  /* --- DEBUG KEYS (temporary) --- */
	  uint8_t key;
	  if (HAL_UART_Receive(&huart2, &key, 1, 0) == HAL_OK) {   // timeout 0 = don't wait
	      if (key == 'l') { lock_set(LOCK_LOCKED);   uart_print("LOCKED (manual)\r\n"); }
	      if (key == 'u') { lock_set(LOCK_UNLOCKED); uart_print("UNLOCKED (manual)\r\n"); }
	      if (key == 's') i2c_scan();
	      if (key == 'd') ds1307_dump();
	      if (key == 'b') i2c_diag();
	      if (key == 'c') i2c_bus_clear();
	      if (key == 't') ds1307_stats();
	      if (key == 'z') buzzer_start(&PAT_TEST);
	      if (key == 'g') buzzer_start(&PAT_GRANTED);
	      if (key == 'n') buzzer_start(&PAT_DENIED);
	      if (key == 'w') {
	          rtc_time_t t;
	          if (parse_build_time(&t) && ds1307_write_time(&t) == HAL_OK) uart_print("RTC set from build time\r\n");
	          else uart_print("RTC set FAILED\r\n");
	          rtc_print_status();                     // read back to verify
	      }
	      if (key == 'r') rtc_print_status();
	      if (key == 'k') {
	          snprintf(buf, sizeof buf, "RTC reads: ok=%lu fail=%lu\r\n",
	                   (unsigned long)rtc_ok_cnt, (unsigned long)rtc_fail_cnt);
	          uart_print(buf);
	      }
	      if (key == 'x') {
	          const char msg[] = "HELLO FROM NUCLEO\r\n";
	          HAL_UART_Transmit(&huart1, (uint8_t *)msg, sizeof msg - 1, 100);
	          uart_print("sent test line on USART1\r\n");
	      }
	      if (key == 'q') {
	          char big[128];
	          snprintf(big, sizeof big,
	                   "rx: bytes=%lu unexpected=%lu errors=%lu dropped=%lu pe=%lu ne=%lu fe=%lu ore=%lu\r\n",
	                   (unsigned long)rx1_bytes, (unsigned long)rx1_unexpected, (unsigned long)rx1_errors,
	                   (unsigned long)rx1_dropped, (unsigned long)rx1_err_pe, (unsigned long)rx1_err_ne,
	                   (unsigned long)rx1_err_fe, (unsigned long)rx1_err_ore);
	          uart_print(big);
	          rx1_bytes = rx1_unexpected = rx1_errors = rx1_dropped = 0;
	          rx1_err_pe = rx1_err_ne = rx1_err_fe = rx1_err_ore = 0;
	      }

	      if (key == 'v') {
	          snprintf(buf, sizeof buf, "PB7=%u USART1 SR=0x%04lX CR1=0x%04lX rxstate=0x%02X\r\n",
	                   (HAL_GPIO_ReadPin(GPIOB, GPIO_PIN_7) == GPIO_PIN_SET),
	                   (unsigned long)USART1->SR, (unsigned long)USART1->CR1,
	                   (unsigned)huart1.RxState);
	          uart_print(buf);
	      }
	      if (key == 'y') {
	          snprintf(buf, sizeof buf, "CRC16 of 123456789 = 0x%04X\r\n",
	                   crc16_ccitt((const uint8_t *)"123456789", 9));
	          uart_print(buf);
	      }

	      if (key == 'f') {
	          const uint8_t sample[17] = { 0x39,0x30,0x00,0x00,      // uptime 12345 ms, little-endian
	                                       0x01,0x17,0x37,0x02,      // UID
	                                       1, 1, 0,                  // granted, unlocked, rtc ok
	                                       0x1A,0x0B,0x16,0x0C,0x22,0x38 };   // 26-11-22 12:34:56
	          uint8_t fr[FRAME_MAX_PAYLOAD + 6];
	          size_t n = frame_build(fr, FRAME_TYPE_EVENT, 7, sample, sizeof sample);
	          uart_print("frame:");
	          for (size_t i = 0; i < n; i++) {
	              snprintf(buf, sizeof buf, " %02X", fr[i]);
	              uart_print(buf);
	          }
	          uart_print("\r\n");
	          HAL_UART_Transmit(&huart1, fr, n, 100);     // test only: blocking send of the frame
	          uart_print("frame sent on USART1\r\n");
	      }

	      if (key >= '1' && key <= '4') {
	          send_sample_frame((uint8_t)(key - '0'));
	          snprintf(buf, sizeof buf, "fault case %c sent\r\n", key);
	          uart_print(buf);
	      }

	      if (key == 'p') {
	          snprintf(buf, sizeof buf, "parser: ok=%lu bad_crc=%lu bad_len=%lu timeout=%lu skipped=%lu\r\n",
	                   (unsigned long)rxp.ok, (unsigned long)rxp.bad_crc, (unsigned long)rxp.bad_len,
	                   (unsigned long)rxp.timeout, (unsigned long)rxp.skipped);
	          uart_print(buf);
	      }
	  }
	  /* --- END DEBUG KEYS --- */

	  while (rx1_tail != rx1_head) {
	      uint8_t c = rx1_buf[rx1_tail];
	      rx1_tail = (rx1_tail + 1) & (RX1_BUF_SIZE - 1);
	      rx1_bytes++;
	      if (rxp.n > 0 && (HAL_GetTick() - rxp.last_byte_ms) >= 50) { rxp.timeout++; rxp.n = 0; }
	      parser_feed(&rxp, c);
	      rxp.last_byte_ms = HAL_GetTick();
	      if (!((c >= 'A' && c <= 'S') || c == '\n')) rx1_unexpected++;
	      if (rxdump_n < sizeof rxdump) rxdump[rxdump_n++] = c;
	      rxdump_last_ms = HAL_GetTick();
	  }
	  if (rxp.n > 0 && (HAL_GetTick() - rxp.last_byte_ms) >= 50) { rxp.timeout++; rxp.n = 0; }

	  if (rxdump_n > 0 && (HAL_GetTick() - rxdump_last_ms) >= 20) {   // 20 ms of silence = end of burst
	      snprintf(buf, sizeof buf, "RX %u bytes:", (unsigned)rxdump_n);
	      uart_print(buf);
	      for (size_t i = 0; i < rxdump_n; i++) {
	          snprintf(buf, sizeof buf, " %02X", rxdump[i]);
	          uart_print(buf);
	      }
	      uart_print("\r\n");
	      rxdump_n = 0;
	  }

	  if ((HAL_GetTick() - last_poll_ms) >= RFID_POLL_MS) {
	      last_poll_ms = HAL_GetTick();

	      if (rc522_reqa(atqa) == 0 && rc522_anticoll(uid) == 0) {
	          last_seen_ms = HAL_GetTick();
	          uint8_t changed = (ui_state == STATE_IDLE) || (memcmp(uid, last_uid, 4) != 0);
	          if (changed) {
	              memcpy(last_uid, uid, 4);
	              ui_state = STATE_SHOWING;
	              uint8_t granted = is_authorized(uid);

	              if (granted) lock_set(LOCK_UNLOCKED);          // decision actions first
	              lcd_clear();
	              lcd_set_cursor(0, 0);
	              lcd_print(granted ? "GRANTED" : "DENIED");
	              lcd_set_cursor(1, 0);
	              snprintf(buf, sizeof buf, "%02X%02X%02X%02X", uid[0], uid[1], uid[2], uid[3]);
	              lcd_print(buf);
	              buzzer_start(granted ? &PAT_GRANTED : &PAT_DENIED);

	              // RTC last: a failure here must never affect the decision (AC-18)
	              char stamp[32], logline[112];
	              uint32_t took; uint8_t rc;
	              make_timestamp(stamp, sizeof stamp, &took, &rc);
	              snprintf(logline, sizeof logline,
	                       "[%s] UID = %02X %02X %02X %02X -> %s  (rtc rc=%u, %lu ms)\r\n",
	                       stamp, uid[0], uid[1], uid[2], uid[3],
	                       granted ? "GRANTED" : "DENIED", rc, (unsigned long)took);
	              uart_print(logline);
	          }
	      } else if (ui_state == STATE_SHOWING &&
	                 (HAL_GetTick() - last_seen_ms) > RESULT_HOLD_MS) {
	          ui_state = STATE_IDLE;
	          lcd_show_idle();
	      }
	  }

	  buzzer_update();

	  if (lock_state == LOCK_UNLOCKED && (HAL_GetTick() - unlock_ms) >= UNLOCK_HOLD_MS) {
	      lock_set(LOCK_LOCKED);
	      uart_print("LOCKED (timeout)\r\n");
	  }
	  /* no HAL_Delay: each task now has its own timer */
  }
  /* USER CODE END 3 */
}

void SystemClock_Config(void)
{
  RCC_OscInitTypeDef RCC_OscInitStruct = {0};
  RCC_ClkInitTypeDef RCC_ClkInitStruct = {0};

  /** Configure the main internal regulator output voltage
  */
  __HAL_RCC_PWR_CLK_ENABLE();
  __HAL_PWR_VOLTAGESCALING_CONFIG(PWR_REGULATOR_VOLTAGE_SCALE3);

  /** Initializes the RCC Oscillators according to the specified parameters
  * in the RCC_OscInitTypeDef structure.
  */
  RCC_OscInitStruct.OscillatorType = RCC_OSCILLATORTYPE_HSI;
  RCC_OscInitStruct.HSIState = RCC_HSI_ON;
  RCC_OscInitStruct.HSICalibrationValue = RCC_HSICALIBRATION_DEFAULT;
  RCC_OscInitStruct.PLL.PLLState = RCC_PLL_ON;
  RCC_OscInitStruct.PLL.PLLSource = RCC_PLLSOURCE_HSI;
  RCC_OscInitStruct.PLL.PLLM = 16;
  RCC_OscInitStruct.PLL.PLLN = 336;
  RCC_OscInitStruct.PLL.PLLP = RCC_PLLP_DIV4;
  RCC_OscInitStruct.PLL.PLLQ = 2;
  RCC_OscInitStruct.PLL.PLLR = 2;
  if (HAL_RCC_OscConfig(&RCC_OscInitStruct) != HAL_OK)
  {
    Error_Handler();
  }

  /** Initializes the CPU, AHB and APB buses clocks
  */
  RCC_ClkInitStruct.ClockType = RCC_CLOCKTYPE_HCLK|RCC_CLOCKTYPE_SYSCLK
                              |RCC_CLOCKTYPE_PCLK1|RCC_CLOCKTYPE_PCLK2;
  RCC_ClkInitStruct.SYSCLKSource = RCC_SYSCLKSOURCE_PLLCLK;
  RCC_ClkInitStruct.AHBCLKDivider = RCC_SYSCLK_DIV1;
  RCC_ClkInitStruct.APB1CLKDivider = RCC_HCLK_DIV2;
  RCC_ClkInitStruct.APB2CLKDivider = RCC_HCLK_DIV1;

  if (HAL_RCC_ClockConfig(&RCC_ClkInitStruct, FLASH_LATENCY_2) != HAL_OK)
  {
    Error_Handler();
  }
}

static void MX_I2C1_Init(void)
{

  hi2c1.Instance = I2C1;
  hi2c1.Init.ClockSpeed = 100000;
  hi2c1.Init.DutyCycle = I2C_DUTYCYCLE_2;
  hi2c1.Init.OwnAddress1 = 0;
  hi2c1.Init.AddressingMode = I2C_ADDRESSINGMODE_7BIT;
  hi2c1.Init.DualAddressMode = I2C_DUALADDRESS_DISABLE;
  hi2c1.Init.OwnAddress2 = 0;
  hi2c1.Init.GeneralCallMode = I2C_GENERALCALL_DISABLE;
  hi2c1.Init.NoStretchMode = I2C_NOSTRETCH_DISABLE;
  if (HAL_I2C_Init(&hi2c1) != HAL_OK)
  {
    Error_Handler();
  }

}

static void MX_SPI1_Init(void)
{

  /* SPI1 parameter configuration*/
  hspi1.Instance = SPI1;
  hspi1.Init.Mode = SPI_MODE_MASTER;
  hspi1.Init.Direction = SPI_DIRECTION_2LINES;
  hspi1.Init.DataSize = SPI_DATASIZE_8BIT;
  hspi1.Init.CLKPolarity = SPI_POLARITY_LOW;
  hspi1.Init.CLKPhase = SPI_PHASE_1EDGE;
  hspi1.Init.NSS = SPI_NSS_SOFT;
  hspi1.Init.BaudRatePrescaler = SPI_BAUDRATEPRESCALER_32;
  hspi1.Init.FirstBit = SPI_FIRSTBIT_MSB;
  hspi1.Init.TIMode = SPI_TIMODE_DISABLE;
  hspi1.Init.CRCCalculation = SPI_CRCCALCULATION_DISABLE;
  hspi1.Init.CRCPolynomial = 10;
  if (HAL_SPI_Init(&hspi1) != HAL_OK)
  {
    Error_Handler();
  }

}

static void MX_TIM2_Init(void)
{

  TIM_ClockConfigTypeDef sClockSourceConfig = {0};
  TIM_MasterConfigTypeDef sMasterConfig = {0};
  TIM_OC_InitTypeDef sConfigOC = {0};

  htim2.Instance = TIM2;
  htim2.Init.Prescaler = 83;
  htim2.Init.CounterMode = TIM_COUNTERMODE_UP;
  htim2.Init.Period = 19999;
  htim2.Init.ClockDivision = TIM_CLOCKDIVISION_DIV1;
  htim2.Init.AutoReloadPreload = TIM_AUTORELOAD_PRELOAD_ENABLE;
  if (HAL_TIM_Base_Init(&htim2) != HAL_OK)
  {
    Error_Handler();
  }
  sClockSourceConfig.ClockSource = TIM_CLOCKSOURCE_INTERNAL;
  if (HAL_TIM_ConfigClockSource(&htim2, &sClockSourceConfig) != HAL_OK)
  {
    Error_Handler();
  }
  if (HAL_TIM_PWM_Init(&htim2) != HAL_OK)
  {
    Error_Handler();
  }
  sMasterConfig.MasterOutputTrigger = TIM_TRGO_RESET;
  sMasterConfig.MasterSlaveMode = TIM_MASTERSLAVEMODE_DISABLE;
  if (HAL_TIMEx_MasterConfigSynchronization(&htim2, &sMasterConfig) != HAL_OK)
  {
    Error_Handler();
  }
  sConfigOC.OCMode = TIM_OCMODE_PWM1;
  sConfigOC.Pulse = 1500;
  sConfigOC.OCPolarity = TIM_OCPOLARITY_HIGH;
  sConfigOC.OCFastMode = TIM_OCFAST_DISABLE;
  if (HAL_TIM_PWM_ConfigChannel(&htim2, &sConfigOC, TIM_CHANNEL_1) != HAL_OK)
  {
    Error_Handler();
  }
  HAL_TIM_MspPostInit(&htim2);

}

static void MX_USART1_UART_Init(void)
{

  huart1.Instance = USART1;
  huart1.Init.BaudRate = 115200;
  huart1.Init.WordLength = UART_WORDLENGTH_8B;
  huart1.Init.StopBits = UART_STOPBITS_1;
  huart1.Init.Parity = UART_PARITY_NONE;
  huart1.Init.Mode = UART_MODE_TX_RX;
  huart1.Init.HwFlowCtl = UART_HWCONTROL_NONE;
  huart1.Init.OverSampling = UART_OVERSAMPLING_16;
  if (HAL_UART_Init(&huart1) != HAL_OK)
  {
    Error_Handler();
  }

}

static void MX_USART2_UART_Init(void)
{

  huart2.Instance = USART2;
  huart2.Init.BaudRate = 115200;
  huart2.Init.WordLength = UART_WORDLENGTH_8B;
  huart2.Init.StopBits = UART_STOPBITS_1;
  huart2.Init.Parity = UART_PARITY_NONE;
  huart2.Init.Mode = UART_MODE_TX_RX;
  huart2.Init.HwFlowCtl = UART_HWCONTROL_NONE;
  huart2.Init.OverSampling = UART_OVERSAMPLING_16;
  if (HAL_UART_Init(&huart2) != HAL_OK)
  {
    Error_Handler();
  }

}

static void MX_GPIO_Init(void)
{
  GPIO_InitTypeDef GPIO_InitStruct = {0};

  /* GPIO Ports Clock Enable */
  __HAL_RCC_GPIOC_CLK_ENABLE();
  __HAL_RCC_GPIOH_CLK_ENABLE();
  __HAL_RCC_GPIOA_CLK_ENABLE();
  __HAL_RCC_GPIOB_CLK_ENABLE();

  /*Configure GPIO pin Output Level */
  HAL_GPIO_WritePin(GPIOC, BUZZER_Pin|LCD_E_Pin, GPIO_PIN_RESET);

  /*Configure GPIO pin Output Level */
  HAL_GPIO_WritePin(RC522_CS_GPIO_Port, RC522_CS_Pin, GPIO_PIN_SET);

  /*Configure GPIO pin Output Level */
  HAL_GPIO_WritePin(RC522_RST_GPIO_Port, RC522_RST_Pin, GPIO_PIN_SET);

  /*Configure GPIO pin Output Level */
  HAL_GPIO_WritePin(GPIOB, LCD_D5_Pin|LCD_D4_Pin, GPIO_PIN_RESET);

  /*Configure GPIO pin Output Level */
  HAL_GPIO_WritePin(GPIOA, LCD_D6_Pin|LCD_RS_Pin|LCD_D7_Pin, GPIO_PIN_RESET);

  /*Configure GPIO pin : B1_Pin */
  GPIO_InitStruct.Pin = B1_Pin;
  GPIO_InitStruct.Mode = GPIO_MODE_IT_FALLING;
  GPIO_InitStruct.Pull = GPIO_NOPULL;
  HAL_GPIO_Init(B1_GPIO_Port, &GPIO_InitStruct);

  /*Configure GPIO pins : BUZZER_Pin LCD_E_Pin */
  GPIO_InitStruct.Pin = BUZZER_Pin|LCD_E_Pin;
  GPIO_InitStruct.Mode = GPIO_MODE_OUTPUT_PP;
  GPIO_InitStruct.Pull = GPIO_NOPULL;
  GPIO_InitStruct.Speed = GPIO_SPEED_FREQ_LOW;
  HAL_GPIO_Init(GPIOC, &GPIO_InitStruct);

  /*Configure GPIO pins : RC522_CS_Pin LCD_D6_Pin LCD_RS_Pin LCD_D7_Pin */
  GPIO_InitStruct.Pin = RC522_CS_Pin|LCD_D6_Pin|LCD_RS_Pin|LCD_D7_Pin;
  GPIO_InitStruct.Mode = GPIO_MODE_OUTPUT_PP;
  GPIO_InitStruct.Pull = GPIO_NOPULL;
  GPIO_InitStruct.Speed = GPIO_SPEED_FREQ_LOW;
  HAL_GPIO_Init(GPIOA, &GPIO_InitStruct);

  /*Configure GPIO pins : RC522_RST_Pin LCD_D5_Pin LCD_D4_Pin */
  GPIO_InitStruct.Pin = RC522_RST_Pin|LCD_D5_Pin|LCD_D4_Pin;
  GPIO_InitStruct.Mode = GPIO_MODE_OUTPUT_PP;
  GPIO_InitStruct.Pull = GPIO_NOPULL;
  GPIO_InitStruct.Speed = GPIO_SPEED_FREQ_LOW;
  HAL_GPIO_Init(GPIOB, &GPIO_InitStruct);

}

/* USER CODE BEGIN 4 */

void HAL_UART_RxCpltCallback(UART_HandleTypeDef *huart)
{
    if (huart->Instance == USART1) {
        uint16_t next = (rx1_head + 1) & (RX1_BUF_SIZE - 1);
        if (next == rx1_tail) {
            rx1_dropped++;                       // buffer full: discard and count
        } else {
            rx1_buf[rx1_head] = rx1_byte;
            rx1_head = next;
        }
        HAL_UART_Receive_IT(&huart1, &rx1_byte, 1);   // arm for the next byte
    }
}

void HAL_UART_ErrorCallback(UART_HandleTypeDef *huart)
{
    if (huart->Instance == USART1) {
        rx1_errors++;
        { uint32_t e = HAL_UART_GetError(huart);
          if (e & HAL_UART_ERROR_PE)  rx1_err_pe++;
          if (e & HAL_UART_ERROR_NE)  rx1_err_ne++;
          if (e & HAL_UART_ERROR_FE)  rx1_err_fe++;
          if (e & HAL_UART_ERROR_ORE) rx1_err_ore++; }
        HAL_UART_Receive_IT(&huart1, &rx1_byte, 1);   // receiving stopped on error, so arm again
    }
}

/* USER CODE END 4 */

void Error_Handler(void)
{
  __disable_irq();
  while (1)
  {
  }
}
